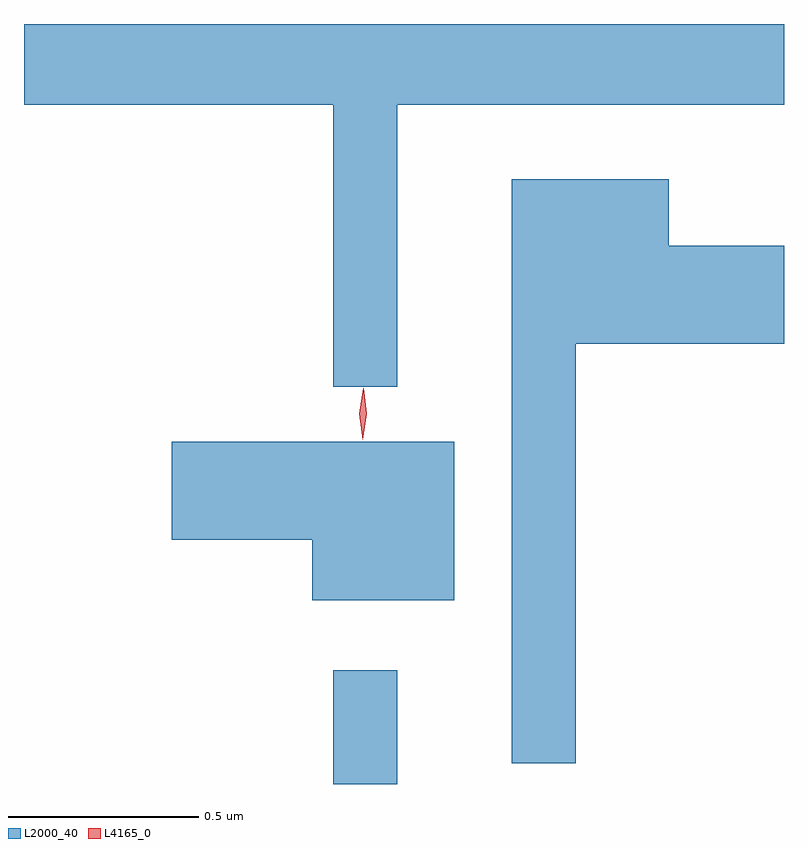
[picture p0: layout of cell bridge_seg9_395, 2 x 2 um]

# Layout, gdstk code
import gdstk
lib = gdstk.Library(unit=1e-6, precision=1e-09)
def R(c, l, rs):  # rectangles x0, y0, x1, y1
    for r in rs: c.add(gdstk.rectangle(r[:2], r[2:], *l))
def P(c, l, *ps):  # polygons
    for p in ps: c.add(gdstk.Polygon(p, *l))
L2000_40 = (2000, 40)
L4165_0 = (4165, 0)

bridge_seg9_395 = lib.new_cell('bridge_seg9_395')
R(bridge_seg9_395, L2000_40, [(986.061,2010.008,986.229,2010.308)])
P(bridge_seg9_395, L2000_40, [(986.229,2011.796),(987.247,2011.796),(987.247,2012.008),(985.247,2012.008),(985.247,2011.796),(986.061,2011.796),(986.061,2011.053),(986.229,2011.053)],
  [(986.699,2011.166),(987.247,2011.166),(987.247,2011.424),(986.944,2011.424),(986.944,2011.599),(986.531,2011.599),(986.531,2010.063),(986.699,2010.063)],
  [(986.379,2010.909),(985.636,2010.909),(985.636,2010.651),(986.006,2010.651),(986.006,2010.491),(986.379,2010.491)])
P(bridge_seg9_395, L4165_0, [(986.138,2010.92),(986.138,2010.921),(986.129,2010.984),(986.14,2011.046),(986.14,2011.047),(986.141,2011.046),(986.149,2010.983),(986.139,2010.921)],
  [(986.138,2010.914),(986.138,2010.914),(986.129,2010.982),(986.14,2011.05),(986.14,2011.05),(986.141,2011.05),(986.149,2010.982),(986.139,2010.914)])

lib.write_gds('bridge_seg9_395.gds')
